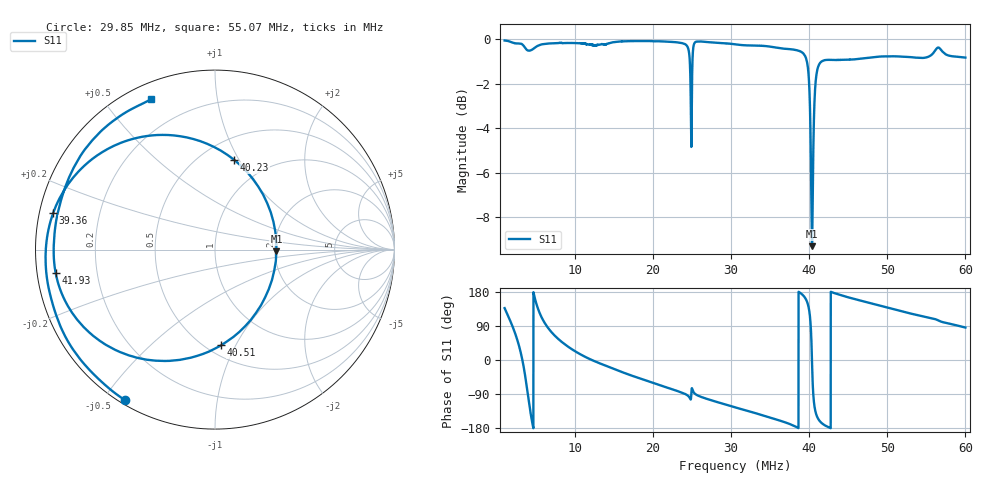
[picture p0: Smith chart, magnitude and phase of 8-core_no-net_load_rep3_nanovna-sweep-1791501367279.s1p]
! NanoVNA Web complex sweep
! Processing: unaveraged complex samples; linear segment spacing; no smoothing
# Hz S RI R 50
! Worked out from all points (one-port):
!   5050 points, 1 MHz to 60 MHz, reference 50 ohm
!   lowest |S11| = -9.3 dB at 40.36 MHz (marker M1), VSWR 2.04, Z = 102 - j2.23 ohm
!   |S11| at or under -10 dB: nowhere
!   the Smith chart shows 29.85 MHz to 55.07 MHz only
!   S11 on the Smith chart (normalised r, x): 29.85 MHz: 0.02, -0.57; 39.36 MHz: 0.04, +0.11; 40.23 MHz: 0.71, +0.96; 40.51 MHz: 0.59, -0.88; 41.93 MHz: 0.05, -0.07; 55.07 MHz: 0.07, +0.66
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1000000  -0.7255 0.6794
2238610  0.2288 0.9536
3150040  0.9556 0.2032
3547330  0.8224 -0.497
3967990  0.0039 -0.9438
4318540  -0.7113 -0.6208
4634035  -0.9476 -0.0775
5113120  -0.7923 0.5491
5650630  -0.4311 0.8724
8384920  0.6741 0.7114
1.118932e7  0.9633 0.1646
1.575816e7  0.8585 -0.4905
2.313139e7  0.1382 -0.9745
2.985026e7  -0.5032 -0.8379
3.050462e7  -0.558 -0.7988
3.787786e7  -0.9396 -0.1302
3.936186e7  -0.9011 0.2052
3.996948e7  -0.563 0.5784
4.022654e7  0.1081 0.4991
4.035508e7  0.342 -0.00965
4.050698e7  0.0339 -0.5336
4.071732e7  -0.4604 -0.5948
4.103281e7  -0.7438 -0.4186
4.193256e7  -0.8876 -0.1313
4.52511e7  -0.8652 0.2486
5.262433e7  -0.5163 0.7526
5.50665e7  -0.3547 0.8393
5.999756e7  0.0689 0.9071
